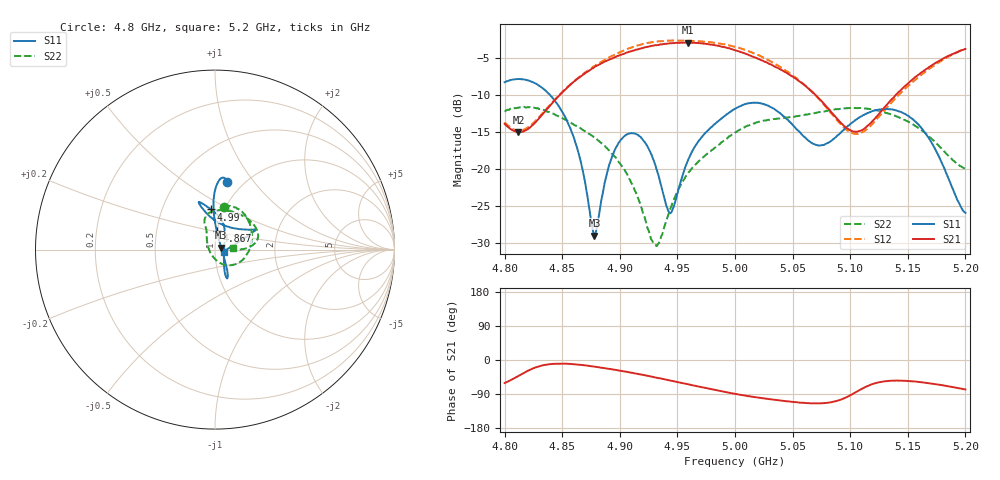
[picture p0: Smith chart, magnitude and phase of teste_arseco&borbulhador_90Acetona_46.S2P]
! Network Analyzer HP8722D
! Hewlett-Packard
! Data name: Linha & Wilkinson
! Saver's name: Rodrigo Anjos
! Comments: Teste da utilização de aquisição
! continua pelo VNA HP8722D
! Time and date: 17/4/2025 11:26
!  Frequency  S11  S21  S12  S22
# HZ  S  MA R 50
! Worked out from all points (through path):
!   401 points, 4.8 GHz to 5.2 GHz, reference 50 ohm
!   highest |S21| = -2.98 dB at 4.959 GHz (marker M1); lowest = -15.1 dB at 4.812 GHz (marker M2)
!   lowest |S11| = -28.9 dB at 4.878 GHz (marker M3), VSWR 1.07, Z = 53.5 + j1.1 ohm
!   |S11| at or under -10 dB: 4.839 GHz to end of sweep
!   |S22| runs from -30.4 to -11.6 dB; largest |S21 - S12| = 1.4
!   S11 on the Smith chart (normalised r, x): 4.8 GHz: 0.84, +0.75; 4.867 GHz: 1.00, +0.21; 4.99 GHz: 0.87, +0.41; 5.2 GHz: 1.10, -0.03
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4.8e9  0.3843 79.7  0.2019 -60.7  0.2064 74.3  0.2438 78.4
4.812e9  0.4037 83.4  0.1766 -42.2  0.1818 91.2  0.2584 68.0
4.845e9  0.2789 91.5  0.2986 -9.8  0.3011 123.0  0.2294 28.3
4.858e9  0.1797 91.2  0.3745 -10.7  0.3763 124.1  0.2038 9.1
4.867e9  0.1043 84.7  0.4262 -13.2  0.4288 123.4  0.1856 -4.4
4.878e9  0.03573 16.7  0.4858 -17.4  0.4922 121.1  0.1637 -21.1
4.891e9  0.1077 -54.9  0.5461 -23.6  0.5659 116.8  0.1329 -39.4
4.904e9  0.1666 -64.6  0.5979 -30.1  0.6309 111.6  0.09916 -57.9
4.92e9  0.1577 -67.9  0.6526 -39.4  0.695 102.9  0.05099 -91.4
4.929e9  0.1166 -63.8  0.6757 -44.8  0.7156 97.4  0.03189 -138.1
4.934e9  0.08822 -55.4  0.6849 -48.1  0.7251 94.1  0.03192 -174.2
4.944e9  0.0504 -0.4  0.703 -54.3  0.7325 87.6  0.05445 141.9
4.959e9  0.1141 61.6  0.7094 -63.9  0.7313 78.1  0.09337 119.6
4.99e9  0.2245 95.7  0.6634 -83.5  0.6926 58.0  0.1547 111.7
5e9  0.2546 103.0  0.6315 -89.3  0.6657 51.5  0.1761 109.6
5.029e9  0.2669 108.9  0.5142 -103.0  0.5411 35.6  0.2145 93.1
5.067e9  0.149 80.9  0.3319 -114.4  0.3301 26.4  0.2356 59.4
5.081e9  0.1506 55.1  0.2552 -112.7  0.2511 29.5  0.2482 45.5
5.104e9  0.2119 31.7  0.1788 -86.5  0.1727 57.7  0.2576 26.5
5.134e9  0.2529 25.9  0.283 -55.0  0.2703 91.0  0.2355 11.2
5.164e9  0.1797 21.4  0.4594 -59.5  0.4441 88.2  0.1782 2.6
5.2e9  0.05075 -16.4  0.6425 -77.8  0.6453 71.3  0.1002 4.6
